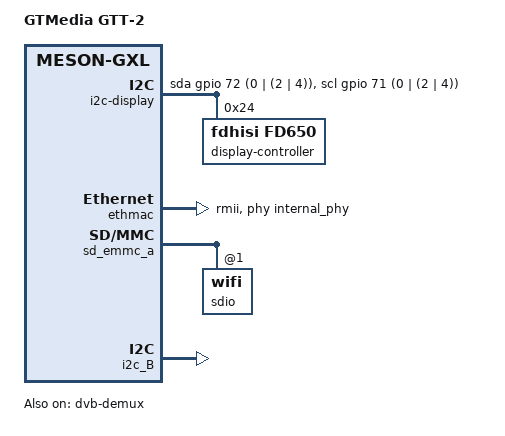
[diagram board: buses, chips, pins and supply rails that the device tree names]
// SPDX-License-Identifier: (GPL-2.0+ OR MIT)
/*
 * Copyright (c) 2026 Marek Czerski <m.czerski@ap-tech.pl>
 */

/dts-v1/;

#include "meson-gxl-s905d.dtsi"
#include "meson-gx-p23x-q20x.dtsi"

/ {
	compatible = "amlogic,gtmedia-gtt2", "amlogic,s905d", "amlogic,meson-gxl";
	model = "GTMedia GTT-2";

	i2c-display {
		compatible = "i2c-gpio";
		sda-gpios = <&gpio 72 (0 | (2 | 4))>;
		scl-gpios = <&gpio 71 (0 | (2 | 4))>;
		i2c-gpio,delay-us = <5>;
		#address-cells = <1>;
		#size-cells = <0>;

		display-controller@24 {
			compatible = "fdhisi,fd650";
			reg = <0x24>;

			tm16xx,digits = [03 02 01 00];
			tm16xx,segment-mapping = [00 06 04 02 01 07 05];

			#address-cells = <2>;
			#size-cells = <0>;

			led@2,3 {
				reg = <2 3>;
				function = "colon";
			};
		};
	};

	soc {
		demux: demux {
			compatible = "amlogic, dmx";
			interrupts = <GIC_SPI 23 IRQ_TYPE_EDGE_RISING>,
				     <GIC_SPI 5  IRQ_TYPE_EDGE_RISING>,
				     <GIC_SPI 53 IRQ_TYPE_EDGE_RISING>,
				     <GIC_SPI 19 IRQ_TYPE_EDGE_RISING>,
				     <GIC_SPI 25 IRQ_TYPE_EDGE_RISING>;
			interrupt-names = "demux0_irq", "demux1_irq",
					  "demux2_irq", "dvr0_irq",
					  "dvr1_irq";
		};
	};

	dvb-demux {
		compatible = "amlogic,dvb-demux";
		reg = <0x0 0xc1105800 0x0 0x2000 0x0 0xc1108c40 0x0 0x100>;

		status = "okay";
		ts0 = "parallel";
		ts0_control = <0x0>;
		ts0_invert = <0x0>;
		pinctrl-names = "p_ts0", "s_ts0";
		pinctrl-0 = <&dvb_p_ts0_pins>;
		pinctrl-1 = <&dvb_s_ts0_pins>;
		dmx = <&demux>;

		clocks = <&clkc CLKID_DEMUX
			  &clkc CLKID_ASYNC_FIFO
			  &clkc CLKID_AHB_ARB0
			  &clkc CLKID_HIU_IFACE>;
		clock-names = "demux", "asyncfifo",
			      "ahbarb0", "uparsertop";

		resets = <&reset RESET_DEMUX>,
			 <&reset RESET_DEMUX_DES>,
			 <&reset RESET_DEMUX_RESET_0>,
			 <&reset RESET_DEMUX_RESET_1>,
			 <&reset RESET_DEMUX_RESET_2>,
			 <&reset RESET_PERIPHS_ASYNC_0>,
			 <&reset RESET_PERIPHS_ASYNC_1>;
		reset-names = "demux_rst", "des_rst", "demux0_rst",
			      "demux1_rst", "demux2_rst",
			      "async0_rst", "async1_rst";

		dvb_t: frontend@0 {
			compatible = "gtmedia,cxd2878";
			i2c-bus = <&i2c_B>;
		};
	};
};

&ethmac {
	phy-mode = "rmii";
	phy-handle = <&internal_phy>;
};

&sd_emmc_a {
	sdio: wifi@1 {
		reg = <1>;
	};
};

&i2c_B {
	status = "okay";
	pinctrl-0 = <&i2c_b_pins>;
	pinctrl-names = "default";
};
